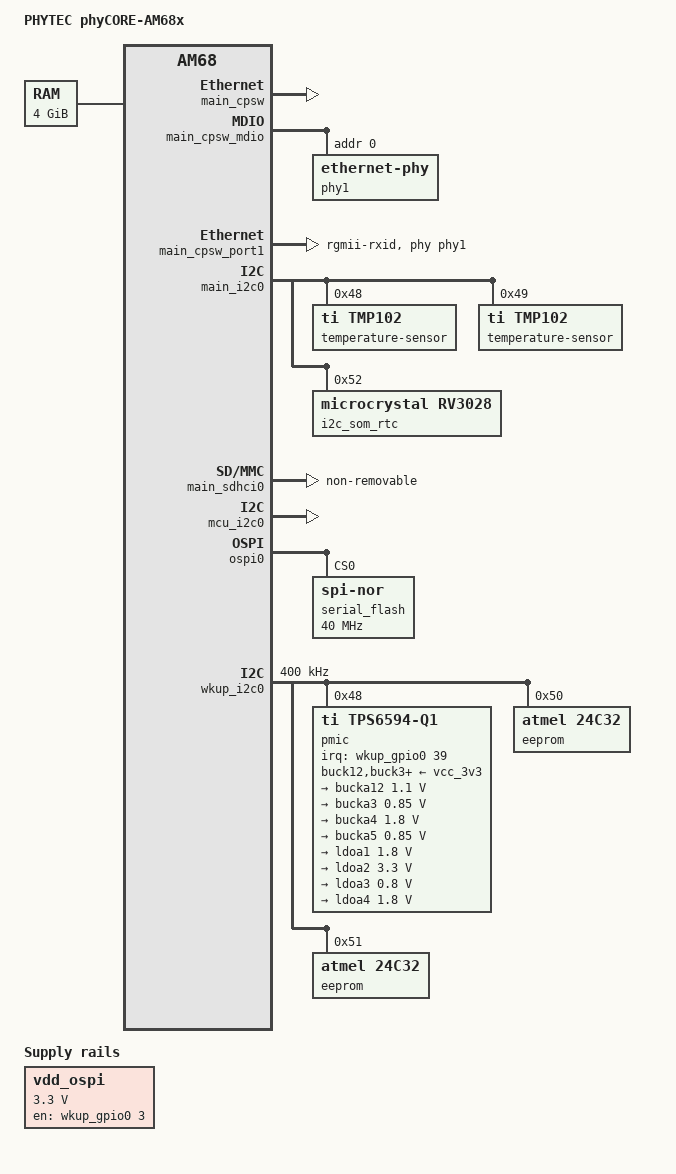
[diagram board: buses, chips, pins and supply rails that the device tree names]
// SPDX-License-Identifier: GPL-2.0
/*
 * Copyright (C) 2023 PHYTEC Messtechnik GmbH
 * Author: Dominik Haller <d.haller@phytec.de>
 */

/dts-v1/;

#include <dt-bindings/gpio/gpio.h>
#include <dt-bindings/net/ti-dp83867.h>
#include "k3-j721s2.dtsi"

/ {
	compatible = "phytec,am68-phycore-som", "ti,j721s2";
	model = "PHYTEC phyCORE-AM68x";

	aliases {
		ethernet1 = &main_cpsw_port1;
		mmc0 = &main_sdhci0;
		rtc0 = &i2c_som_rtc;
	};

	memory@80000000 {
		device_type = "memory";
		/* 4 GB RAM */
		reg = <0x00 0x80000000 0x00 0x80000000>,
		      <0x08 0x80000000 0x00 0x80000000>;
	};

	/* Reserving memory regions still pending */
	reserved_memory: reserved-memory {
		#address-cells = <2>;
		#size-cells = <2>;
		ranges;

		secure_ddr: optee@9e800000 {
			reg = <0x00 0x9e800000 0x00 0x01800000>;
			alignment = <0x1000>;
			no-map;
		};

		mcu_r5fss0_core0_dma_memory_region: r5f-dma-memory@a0000000 {
			compatible = "shared-dma-pool";
			reg = <0x00 0xa0000000 0x00 0x100000>;
			no-map;
		};

		mcu_r5fss0_core0_memory_region: r5f-memory@a0100000 {
			compatible = "shared-dma-pool";
			reg = <0x00 0xa0100000 0x00 0xf00000>;
			no-map;
		};

		mcu_r5fss0_core1_dma_memory_region: r5f-dma-memory@a1000000 {
			compatible = "shared-dma-pool";
			reg = <0x00 0xa1000000 0x00 0x100000>;
			no-map;
		};

		mcu_r5fss0_core1_memory_region: r5f-memory@a1100000 {
			compatible = "shared-dma-pool";
			reg = <0x00 0xa1100000 0x00 0xf00000>;
			no-map;
		};

		main_r5fss0_core0_dma_memory_region: r5f-dma-memory@a2000000 {
			compatible = "shared-dma-pool";
			reg = <0x00 0xa2000000 0x00 0x100000>;
			no-map;
		};

		main_r5fss0_core0_memory_region: r5f-memory@a2100000 {
			compatible = "shared-dma-pool";
			reg = <0x00 0xa2100000 0x00 0xf00000>;
			no-map;
		};

		main_r5fss0_core1_dma_memory_region: r5f-dma-memory@a3000000 {
			compatible = "shared-dma-pool";
			reg = <0x00 0xa3000000 0x00 0x100000>;
			no-map;
		};

		main_r5fss0_core1_memory_region: r5f-memory@a3100000 {
			compatible = "shared-dma-pool";
			reg = <0x00 0xa3100000 0x00 0xf00000>;
			no-map;
		};

		main_r5fss1_core0_dma_memory_region: r5f-dma-memory@a4000000 {
			compatible = "shared-dma-pool";
			reg = <0x00 0xa4000000 0x00 0x100000>;
			no-map;
		};

		main_r5fss1_core0_memory_region: r5f-memory@a4100000 {
			compatible = "shared-dma-pool";
			reg = <0x00 0xa4100000 0x00 0xf00000>;
			no-map;
		};

		main_r5fss1_core1_dma_memory_region: r5f-dma-memory@a5000000 {
			compatible = "shared-dma-pool";
			reg = <0x00 0xa5000000 0x00 0x100000>;
			no-map;
		};

		main_r5fss1_core1_memory_region: r5f-memory@a5100000 {
			compatible = "shared-dma-pool";
			reg = <0x00 0xa5100000 0x00 0xf00000>;
			no-map;
		};

		c71_0_dma_memory_region: c71-dma-memory@a6000000 {
			compatible = "shared-dma-pool";
			reg = <0x00 0xa6000000 0x00 0x100000>;
			no-map;
		};

		c71_0_memory_region: c71-memory@a6100000 {
			compatible = "shared-dma-pool";
			reg = <0x00 0xa6100000 0x00 0xf00000>;
			no-map;
		};

		c71_1_dma_memory_region: c71-dma-memory@a7000000 {
			compatible = "shared-dma-pool";
			reg = <0x00 0xa7000000 0x00 0x100000>;
			no-map;
		};

		c71_1_memory_region: c71-memory@a7100000 {
			compatible = "shared-dma-pool";
			reg = <0x00 0xa7100000 0x00 0xf00000>;
			no-map;
		};

		rtos_ipc_memory_region: ipc-memories@a8000000 {
			reg = <0x00 0xa8000000 0x00 0x01c00000>;
			alignment = <0x1000>;
			no-map;
		};
	};

	/* Dummy regulator to enable OSPI0 */
	vdd_ospi: regulator-ospi {
		compatible = "regulator-fixed";
		regulator-name = "vdd_ospi";
		regulator-min-microvolt = <3300000>;
		regulator-max-microvolt = <3300000>;
		regulator-boot-on;
		regulator-always-on;
		enable-active-high;
		pinctrl-names = "default";
		pinctrl-0 = <&vdd_ospi_pins_default>;
		gpio = <&wkup_gpio0 3 GPIO_ACTIVE_HIGH>;
	};
};

&main_pmx0 {
	main_cpsw_mdio_pins_default: main-cpsw-mdio-pins-default {
		pinctrl-single,pins = <
			J721S2_IOPAD(0x0c0, PIN_OUTPUT, 6) /* (T28) MCASP1_AXR0.MDIO0_MDC */
			J721S2_IOPAD(0x0bc, PIN_INPUT, 6) /* (V28) MCASP1_AFSX.MDIO0_MDIO */
		>;
	};

	main_i2c0_pins_default: main_i2c0_pins_default {
		pinctrl-single,pins = <
			J721S2_IOPAD(0x0e0, PIN_INPUT_PULLUP, 0) /* (AH25) I2C0_SCL */
			J721S2_IOPAD(0x0e4, PIN_INPUT_PULLUP, 0) /* (AE24) I2C0_SDA */
		>;
	};

	rgmii1_pins_default: rgmii1-pins-default {
		pinctrl-single,pins = <
			J721S2_IOPAD(0x0b8, PIN_INPUT, 6) /* (AA24) MCASP1_ACLKX.RGMII1_RD0 */
			J721S2_IOPAD(0x0a0, PIN_INPUT, 6) /* (AB25) MCASP0_AXR12.RGMII1_RD1 */
			J721S2_IOPAD(0x0a4, PIN_INPUT, 6) /* (T23) MCASP0_AXR13.RGMII1_RD2 */
			J721S2_IOPAD(0x0a8, PIN_INPUT, 6) /* (U24) MCASP0_AXR14.RGMII1_RD3 */
			J721S2_IOPAD(0x0b0, PIN_INPUT, 6) /* (AD26) MCASP1_AXR3.RGMII1_RXC */
			J721S2_IOPAD(0x0ac, PIN_INPUT, 6) /* (AC25) MCASP0_AXR15.RGMII1_RX_CTL */
			J721S2_IOPAD(0x08c, PIN_OUTPUT, 6) /* (T25) MCASP0_AXR7.RGMII1_TD0 */
			J721S2_IOPAD(0x090, PIN_OUTPUT, 6) /* (W24) MCASP0_AXR8.RGMII1_TD1 */
			J721S2_IOPAD(0x094, PIN_OUTPUT, 6) /* (AA25) MCASP0_AXR9.RGMII1_TD2 */
			J721S2_IOPAD(0x098, PIN_OUTPUT, 6) /* (V25) MCASP0_AXR10.RGMII1_TD3 */
			J721S2_IOPAD(0x0b4, PIN_OUTPUT, 6) /* (U25) MCASP1_AXR4.RGMII1_TXC */
			J721S2_IOPAD(0x09c, PIN_OUTPUT, 6) /* (T24) MCASP0_AXR11.RGMII1_TX_CTL */
		>;
	};
};

&wkup_pmx0 {
	mcu_fss0_ospi0_pins_default: mcu-fss0-ospi0-pins-default {
		pinctrl-single,pins = <
			J721S2_WKUP_IOPAD(0x000, PIN_OUTPUT, 0) /* (D19) MCU_OSPI0_CLK */
			J721S2_WKUP_IOPAD(0x02c, PIN_OUTPUT, 0) /* (F15) MCU_OSPI0_CSn0 */
			J721S2_WKUP_IOPAD(0x00c, PIN_INPUT, 0) /* (C19) MCU_OSPI0_D0 */
			J721S2_WKUP_IOPAD(0x010, PIN_INPUT, 0) /* (F16) MCU_OSPI0_D1 */
			J721S2_WKUP_IOPAD(0x014, PIN_INPUT, 0) /* (G15) MCU_OSPI0_D2 */
			J721S2_WKUP_IOPAD(0x018, PIN_INPUT, 0) /* (F18) MCU_OSPI0_D3 */
			J721S2_WKUP_IOPAD(0x01c, PIN_INPUT, 0) /* (E19) MCU_OSPI0_D4 */
			J721S2_WKUP_IOPAD(0x020, PIN_INPUT, 0) /* (G19) MCU_OSPI0_D5 */
			J721S2_WKUP_IOPAD(0x024, PIN_INPUT, 0) /* (F19) MCU_OSPI0_D6 */
			J721S2_WKUP_IOPAD(0x028, PIN_INPUT, 0) /* (F20) MCU_OSPI0_D7 */
			J721S2_WKUP_IOPAD(0x008, PIN_INPUT, 0) /* (E18) MCU_OSPI0_DQS */
		>;
	};
};

&wkup_pmx1 {
	mcu_fss0_ospi0_pins_default_alt: mcu-fss0-ospi0-pins-default-alt {
		pinctrl-single,pins = <
			J721S2_WKUP_IOPAD(0x004, PIN_OUTPUT, 6) /* (F17) MCU_OSPI0_CSn3.MCU_OSPI0_ECC_FAIL */
			J721S2_WKUP_IOPAD(0x000, PIN_OUTPUT, 6) /* (F14) MCU_OSPI0_CSn2.MCU_OSPI0_RESET_OUT0 */
		>;
	};

	pmic_irq_pins_default: pmic-irq-pins-default {
		pinctrl-single,pins = <
			J721S2_WKUP_IOPAD(0x028, PIN_INPUT, 7) /* (C21) MCU_OSPI1_CSn1.WKUP_GPIO0_39 */
		>;
	};
};

&wkup_pmx2 {
	mcu_i2c0_pins_default: mcu-i2c0-pins-default {
		pinctrl-single,pins = <
			J721S2_WKUP_IOPAD(0x0a0, PIN_INPUT_PULLUP, 0) /* (G24) MCU_I2C0_SCL */
			J721S2_WKUP_IOPAD(0x0a4, PIN_INPUT_PULLUP, 0) /* (J25) MCU_I2C0_SDA */
		>;
	};

	vdd_ospi_pins_default: vdd-ospi-pins-default {
		pinctrl-single,pins = <
			J721S2_WKUP_IOPAD(0x064, PIN_OUTPUT, 7) /* (C27) WKUP_GPIO0_3 */
		>;
	};

	wkup_sn65dsi83_pins_default: wkup-sn65dsi83-pins-default {
		pinctrl-single,pins = <
			J721S2_WKUP_IOPAD(0x084, PIN_OUTPUT, 7) /* (F25) WKUP_GPIO0_11 */
		>;
	};

	wkup_i2c0_pins_default: wkup-i2c0-pins-default {
		pinctrl-single,pins = <
			J721S2_WKUP_IOPAD(0x098, PIN_INPUT_PULLUP, 0) /* (H24) WKUP_I2C0_SCL */
			J721S2_WKUP_IOPAD(0x09c, PIN_INPUT_PULLUP, 0) /* (H27) WKUP_I2C0_SDA */
		>;
	};
};

&c71_0 {
	mboxes = <&mailbox0_cluster4 &mbox_c71_0>;
	memory-region = <&c71_0_dma_memory_region>,
			<&c71_0_memory_region>;
};

&c71_1 {
	mboxes = <&mailbox0_cluster4 &mbox_c71_1>;
	memory-region = <&c71_1_dma_memory_region>,
			<&c71_1_memory_region>;
};

&mailbox0_cluster0 {
	interrupts = <436>;

	mbox_mcu_r5fss0_core0: mbox-mcu-r5fss0-core0 {
		ti,mbox-rx = <0 0 0>;
		ti,mbox-tx = <1 0 0>;
	};

	mbox_mcu_r5fss0_core1: mbox-mcu-r5fss0-core1 {
		ti,mbox-rx = <2 0 0>;
		ti,mbox-tx = <3 0 0>;
	};
};

&mailbox0_cluster1 {
	interrupts = <432>;

	mbox_main_r5fss0_core0: mbox-main-r5fss0-core0 {
		ti,mbox-rx = <0 0 0>;
		ti,mbox-tx = <1 0 0>;
	};

	mbox_main_r5fss0_core1: mbox-main-r5fss0-core1 {
		ti,mbox-rx = <2 0 0>;
		ti,mbox-tx = <3 0 0>;
	};
};

&mailbox0_cluster2 {
	interrupts = <428>;

	mbox_main_r5fss1_core0: mbox-main-r5fss1-core0 {
		ti,mbox-rx = <0 0 0>;
		ti,mbox-tx = <1 0 0>;
	};

	mbox_main_r5fss1_core1: mbox-main-r5fss1-core1 {
		ti,mbox-rx = <2 0 0>;
		ti,mbox-tx = <3 0 0>;
	};
};

&mailbox0_cluster3 {
	status = "disabled";
};

&mailbox0_cluster4 {
	interrupts = <420>;

	mbox_c71_0: mbox-c71-0 {
		ti,mbox-rx = <0 0 0>;
		ti,mbox-tx = <1 0 0>;
	};

	mbox_c71_1: mbox-c71-1 {
		ti,mbox-rx = <2 0 0>;
		ti,mbox-tx = <3 0 0>;
	};
};

&mailbox0_cluster5 {
	status = "disabled";
};

&mailbox0_cluster6 {
	status = "disabled";
};

&mailbox0_cluster7 {
	status = "disabled";
};

&mailbox0_cluster8 {
	status = "disabled";
};

&mailbox0_cluster9 {
	status = "disabled";
};

&mailbox0_cluster10 {
	status = "disabled";
};

&mailbox0_cluster11 {
	status = "disabled";
};

&mailbox1_cluster0 {
	status = "disabled";
};

&mailbox1_cluster1 {
	status = "disabled";
};

&mailbox1_cluster2 {
	status = "disabled";
};

&mailbox1_cluster3 {
	status = "disabled";
};

&mailbox1_cluster4 {
	status = "disabled";
};

&mailbox1_cluster5 {
	status = "disabled";
};

&mailbox1_cluster6 {
	status = "disabled";
};

&mailbox1_cluster7 {
	status = "disabled";
};

&mailbox1_cluster8 {
	status = "disabled";
};

&mailbox1_cluster9 {
	status = "disabled";
};

&mailbox1_cluster10 {
	status = "disabled";
};

&mailbox1_cluster11 {
	status = "disabled";
};

&main_cpsw {
	pinctrl-names = "default";
	pinctrl-0 = <&rgmii1_pins_default>;
	status = "okay";
};

&main_cpsw_mdio {
	pinctrl-names = "default";
	pinctrl-0 = <&main_cpsw_mdio_pins_default>;
	status = "okay";

	phy1: ethernet-phy@0 {
		reg = <0>;
		ti,clk-output-sel = <DP83867_CLK_O_SEL_OFF>;
		ti,fifo-depth = <DP83867_PHYCR_FIFO_DEPTH_4_B_NIB>;
		ti,min-output-impedance;
		ti,rx-internal-delay = <DP83867_RGMIIDCTL_2_00_NS>;
	};
};

&main_cpsw_port1 {
	phy-mode = "rgmii-rxid";
	phy-handle = <&phy1>;
	status = "okay";
};

&main_i2c0 {
	pinctrl-names = "default";
	pinctrl-0 = <&main_i2c0_pins_default>;

	sn65dsi83: bridge@2d {
		compatible = "ti,sn65dsi83";
		reg = <0x2d>;
		pinctrl-names = "default";
		pinctrl-0 = <&wkup_sn65dsi83_pins_default>;
		/* enable-gpios = <&wkup_gpio0 11 GPIO_ACTIVE_HIGH>; */
		status = "disabled";

		sn65dsi83_ports: ports {
			#address-cells = <1>;
			#size-cells = <0>;
			port@0 {
				reg = <0>;
			};
			port@2 {
				reg = <2>;
			};
		};
	};

	temperature-sensor@48 {
		compatible = "ti,tmp102";
		reg = <0x48>;
	};

	temperature-sensor@49 {
		compatible = "ti,tmp102";
		reg = <0x49>;
	};

	i2c_som_rtc: rtc@52 {
		compatible = "microcrystal,rv3028";
		reg = <0x52>;
	};
};

&main_r5fss0_core0 {
	mboxes = <&mailbox0_cluster1 &mbox_main_r5fss0_core0>;
	memory-region = <&main_r5fss0_core0_dma_memory_region>,
			<&main_r5fss0_core0_memory_region>;
};

&main_r5fss0_core1 {
	mboxes = <&mailbox0_cluster1 &mbox_main_r5fss0_core1>;
	memory-region = <&main_r5fss0_core1_dma_memory_region>,
			<&main_r5fss0_core1_memory_region>;
};

&main_r5fss1_core0 {
	mboxes = <&mailbox0_cluster2 &mbox_main_r5fss1_core0>;
	memory-region = <&main_r5fss1_core0_dma_memory_region>,
			<&main_r5fss1_core0_memory_region>;
};

&main_r5fss1_core1 {
	mboxes = <&mailbox0_cluster2 &mbox_main_r5fss1_core1>;
	memory-region = <&main_r5fss1_core1_dma_memory_region>,
			<&main_r5fss1_core1_memory_region>;
};

/* eMMC */
&main_sdhci0 {
	non-removable;
	ti,driver-strength-ohm = <50>;
	disable-wp;
};

/* also PMIC */
&mcu_i2c0 {
	pinctrl-names = "default";
	pinctrl-0 = <&mcu_i2c0_pins_default>;
	status = "okay";
};

&mcu_r5fss0_core0 {
	mboxes = <&mailbox0_cluster0 &mbox_mcu_r5fss0_core0>;
	memory-region = <&mcu_r5fss0_core0_dma_memory_region>,
			<&mcu_r5fss0_core0_memory_region>;
};

&mcu_r5fss0_core1 {
	mboxes = <&mailbox0_cluster0 &mbox_mcu_r5fss0_core1>;
	memory-region = <&mcu_r5fss0_core1_dma_memory_region>,
			<&mcu_r5fss0_core1_memory_region>;
};

&ospi0 {
	pinctrl-names = "default";
	pinctrl-0 = <&mcu_fss0_ospi0_pins_default &mcu_fss0_ospi0_pins_default_alt>;
	status = "okay";

	serial_flash: flash@0 {
		compatible = "jedec,spi-nor";
		reg = <0x0>;
		spi-tx-bus-width = <8>;
		spi-rx-bus-width = <8>;
		spi-max-frequency = <40000000>;
		cdns,tshsl-ns = <60>;
		cdns,tsd2d-ns = <60>;
		cdns,tchsh-ns = <60>;
		cdns,tslch-ns = <60>;
		cdns,read-delay = <2>;
		#address-cells = <1>;
		#size-cells = <1>;
	};
};

&wkup_i2c0 {
	pinctrl-names = "default";
	pinctrl-0 = <&wkup_i2c0_pins_default>;
	clock-frequency = <400000>;
	status = "okay";

	pmic@48 {
		compatible = "ti,tps6594-q1";
		reg = <0x48>;
		ti,primary-pmic;
		system-power-controller;

		pinctrl-names = "default";
		pinctrl-0 = <&pmic_irq_pins_default>;
		interrupt-parent = <&wkup_gpio0>;
		interrupts = <39 IRQ_TYPE_EDGE_FALLING>;

		gpio-controller;
		#gpio-cells = <2>;

		buck12-supply = <&vcc_3v3>;
		buck3-supply = <&vcc_3v3>;
		buck4-supply = <&vcc_3v3>;
		buck5-supply = <&vcc_3v3>;
		ldo1-supply = <&vcc_3v3>;
		ldo2-supply = <&vcc_3v3>;
		ldo3-supply = <&vcc_3v3>;
		ldo4-supply = <&vcc_3v3>;

		regulators {
			bucka12: buck12 {
				regulator-name = "VDD__DDR_1V1";
				regulator-min-microvolt = <1100000>;
				regulator-max-microvolt = <1100000>;
				regulator-boot-on;
				regulator-always-on;
			};

			bucka3: buck3 {
				regulator-name = "VDD_RAM_0V85";
				regulator-min-microvolt = <850000>;
				regulator-max-microvolt = <850000>;
				regulator-boot-on;
				regulator-always-on;
			};

			bucka4: buck4 {
				regulator-name = "VDD_IO_1V8";
				regulator-min-microvolt = <1800000>;
				regulator-max-microvolt = <1800000>;
				regulator-boot-on;
				regulator-always-on;
			};

			bucka5: buck5 {
				regulator-name = "VDD_MCU_0V85";
				regulator-min-microvolt = <850000>;
				regulator-max-microvolt = <850000>;
				regulator-boot-on;
				regulator-always-on;
			};

			ldoa1: ldo1 {
				regulator-name = "VDD_MCUIO_1V8";
				regulator-min-microvolt = <1800000>;
				regulator-max-microvolt = <1800000>;
				regulator-boot-on;
				regulator-always-on;
			};

			ldoa2: ldo2 {
				regulator-name = "VDD_MCUIO_3V3";
				regulator-min-microvolt = <3300000>;
				regulator-max-microvolt = <3300000>;
				regulator-boot-on;
				regulator-always-on;
			};

			ldoa3: ldo3 {
				regulator-name = "VDDA_DLL_0V8";
				regulator-min-microvolt = <800000>;
				regulator-max-microvolt = <800000>;
				regulator-boot-on;
				regulator-always-on;
			};

			ldoa4: ldo4 {
				regulator-name = "VDDA_MCU_1V8";
				regulator-min-microvolt = <1800000>;
				regulator-max-microvolt = <1800000>;
				regulator-boot-on;
				regulator-always-on;
			};
		};
	};

	eeprom@50 {
		compatible = "atmel,24c32";
		reg = <0x50>;
		pagesize = <32>;
	};

	eeprom@51 {
		compatible = "atmel,24c32";
		reg = <0x51>;
		pagesize = <32>;
	};
};
